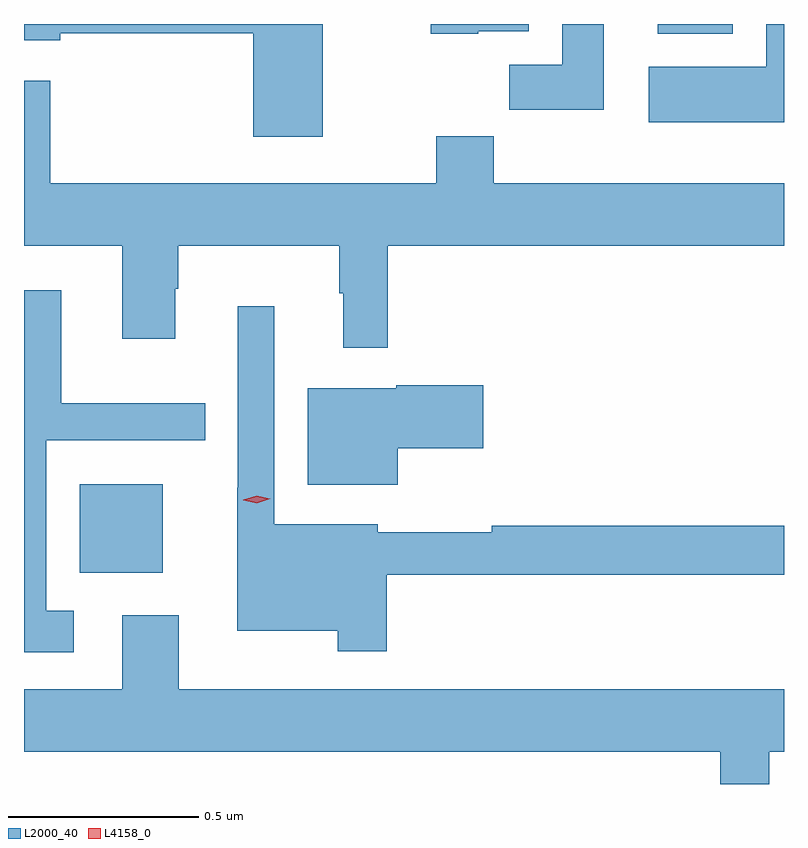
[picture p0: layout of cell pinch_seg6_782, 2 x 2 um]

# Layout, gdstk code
import gdstk
lib = gdstk.Library(unit=1e-6, precision=1e-09)
def R(c, l, rs):  # rectangles x0, y0, x1, y1
    for r in rs: c.add(gdstk.rectangle(r[:2], r[2:], *l))
def P(c, l, *ps):  # polygons
    for p in ps: c.add(gdstk.Polygon(p, *l))
L2000_40 = (2000, 40)
L4158_0 = (4158, 0)

pinch_seg6_782 = lib.new_cell('pinch_seg6_782')
R(pinch_seg6_782, L2000_40, [(508.532,943.811,508.75,944.044), (510.053,945.23,510.25,945.255)])
P(pinch_seg6_782, L2000_40, [(509.171,945.255),(508.385,945.255),(508.385,945.212),(508.48,945.212),(508.48,945.231),(508.988,945.231),(508.988,944.958),(509.171,944.958)],
  [(510.385,945.255),(510.338,945.255),(510.338,945.142),(510.029,945.142),(510.029,944.996),(510.385,944.996)],
  [(509.58,945.236),(509.713,945.236),(509.713,945.255),(509.455,945.255),(509.455,945.23),(509.58,945.23)],
  [(509.911,945.255),(509.801,945.255),(509.801,945.148),(509.662,945.148),(509.662,945.03),(509.911,945.03)],
  [(509.342,944.672),(510.385,944.672),(510.385,944.836),(509.621,944.836),(509.621,944.96),(509.47,944.96),(509.47,944.836),(508.454,944.836),(508.454,945.106),(508.385,945.106),(508.385,944.672),(508.643,944.672),(508.643,944.427),(508.783,944.427),(508.783,944.558),(508.791,944.558),(508.791,944.672),(509.214,944.672),(509.214,944.546),(509.225,944.546),(509.225,944.403),(509.342,944.403)],
  [(508.516,943.711),(508.443,943.711),(508.443,944.16),(508.862,944.16),(508.862,944.257),(508.483,944.257),(508.483,944.554),(508.385,944.554),(508.385,943.602),(508.516,943.602)],
  [(509.339,943.806),(510.385,943.806),(510.385,943.934),(509.616,943.934),(509.616,943.917),(509.316,943.917),(509.316,943.939),(509.043,943.939),(509.043,944.512),(508.947,944.512),(508.947,944.035),(508.946,944.035),(508.946,943.658),(509.211,943.658),(509.211,943.605),(509.339,943.605)],
  [(509.368,944.138),(509.593,944.138),(509.593,944.304),(509.364,944.304),(509.364,944.296),(509.132,944.296),(509.132,944.042),(509.368,944.042)],
  [(510.217,943.255),(510.346,943.255),(510.346,943.34),(510.385,943.34),(510.385,943.504),(508.792,943.504),(508.792,943.699),(508.643,943.699),(508.643,943.504),(508.385,943.504),(508.385,943.34),(510.217,943.34)])
P(pinch_seg6_782, L4158_0, [(508.998,943.994),(508.962,944.002),(508.962,944.002),(508.962,944.003),(508.997,944.014),(509.033,944.006),(509.033,944.006),(509.033,944.006)])

lib.write_gds('pinch_seg6_782.gds')
